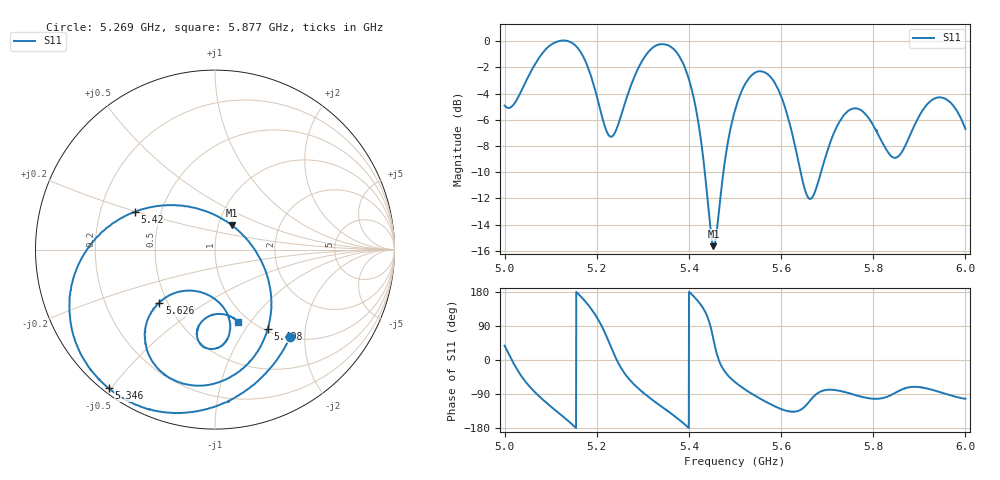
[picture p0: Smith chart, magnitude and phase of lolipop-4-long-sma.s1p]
# HZ S RI R 50
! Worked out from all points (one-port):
!   2020 points, 5 GHz to 6 GHz, reference 50 ohm
!   lowest |S11| = -15.7 dB at 5.453 GHz (marker M1), VSWR 1.40, Z = 58.2 + j16.1 ohm
!   |S11| at or under -10 dB: 5.434 GHz to 5.475 GHz (40.36 MHz wide, 0.74 % of centre); 5.642 GHz to 5.687 GHz (44.4 MHz wide, 0.784 % of centre)
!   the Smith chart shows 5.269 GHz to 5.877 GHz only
!   S11 on the Smith chart (normalised r, x): 5.269 GHz: 1.02, -1.69; 5.346 GHz: 0.02, -0.49; 5.42 GHz: 0.35, +0.20; 5.498 GHz: 1.03, -1.27; 5.626 GHz: 0.45, -0.33; 5.877 GHz: 0.89, -0.88
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5e9  0.449 0.347
5.029222e9  0.5325 -0.2977
5.06637e9  0.0619 -0.8163
5.094106e9  -0.4215 -0.8504
5.12531e9  -0.8506 -0.5363
5.160476e9  -0.9275 0.1021
5.195146e9  -0.3565 0.5611
5.225855e9  0.2884 0.3294
5.250124e9  0.4835 -0.1362
5.26944e9  0.4176 -0.4883
5.308073e9  -0.0527 -0.8898
5.345716e9  -0.5915 -0.7726
5.375434e9  -0.8069 -0.388
5.42001e9  -0.4477 0.2106
5.453195e9  0.0955 0.1346
5.498267e9  0.2934 -0.4429
5.500248e9  0.2861 -0.4661
5.551759e9  -0.1347 -0.7549
5.589896e9  -0.3785 -0.559
5.625062e9  -0.3173 -0.3001
5.626053e9  -0.3101 -0.2968
5.664686e9  -0.0628 -0.2426
5.750372e9  0.0171 -0.5482
5.807331e9  -0.0963 -0.4415
5.875186e9  0.1254 -0.4
5.876672e9  0.1304 -0.4045
5.944032e9  0.0592 -0.607
6.000001e9  -0.0977 -0.4518
